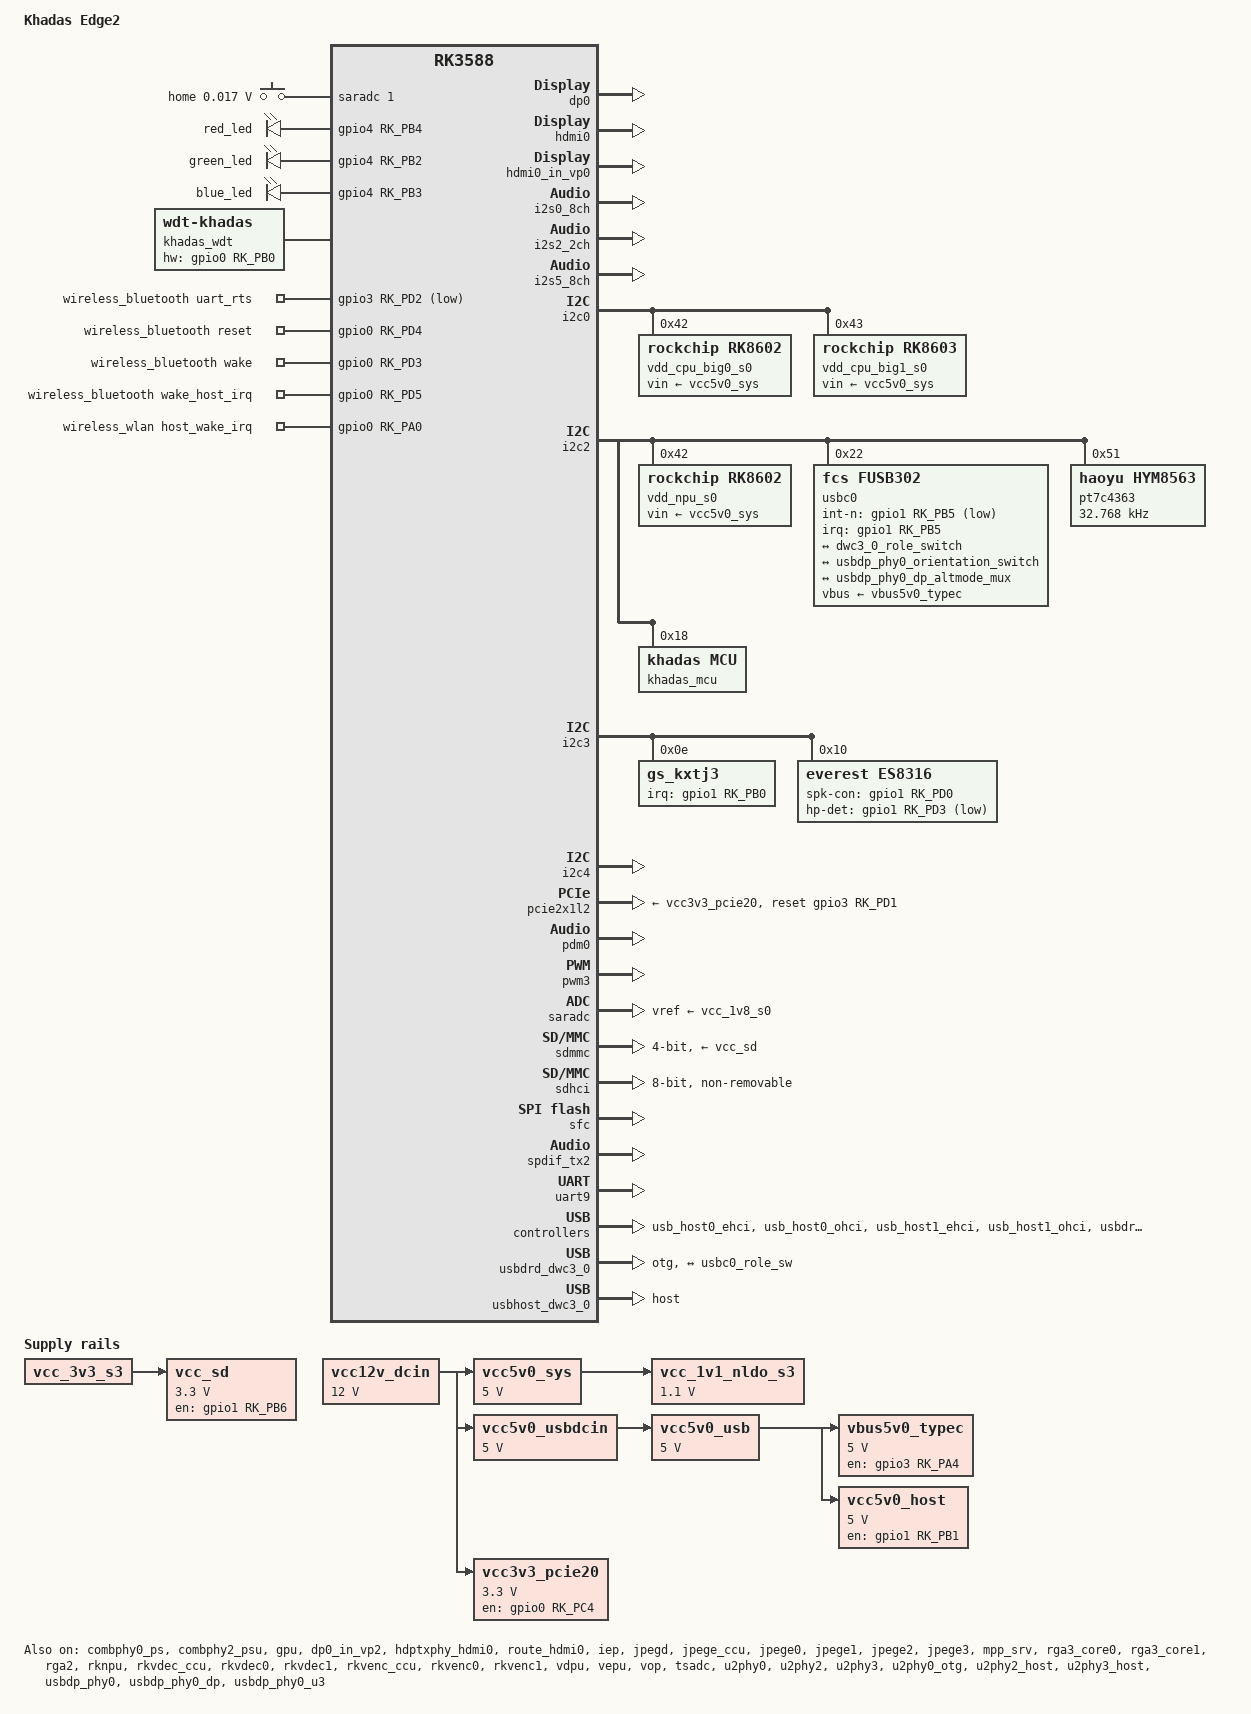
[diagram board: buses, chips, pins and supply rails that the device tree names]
// SPDX-License-Identifier: (GPL-2.0+ OR MIT)
/*
 * Copyright (c) 2023 Wesion Technology Co., Ltd.
 *
 */

/dts-v1/;

#include <dt-bindings/gpio/gpio.h>
#include <dt-bindings/pwm/pwm.h>
#include <dt-bindings/pinctrl/rockchip.h>
#include <dt-bindings/input/rk-input.h>
#include <dt-bindings/display/rockchip_vop.h>
#include <dt-bindings/sensor-dev.h>
#include "dt-bindings/usb/pd.h"
#include "rk3588s.dtsi"
#include "rk3588-rk806-single-khadas.dtsi"
#include "rk3588-linux.dtsi"

/ {
	model = "Khadas Edge2";
	compatible = "khadas,edge2", "rockchip,rk3588";
	/delete-node/ chosen;

	adc_keys: adc-keys {
		compatible = "adc-keys";
		io-channels = <&saradc 1>;
		io-channel-names = "buttons";
		keyup-threshold-microvolt = <1800000>;
		poll-interval = <100>;

		home-key {
			label = "home";
			linux,code = <KEY_HOMEPAGE>;
			press-threshold-microvolt = <17000>;
		};
	};

	sound_micarray: sound-micarray {
		status = "okay";
		compatible = "simple-audio-card";
		simple-audio-card,format = "i2s";
		simple-audio-card,name = "rockchip,sound-micarray";
		simple-audio-card,mclk-fs = <256>;
		simple-audio-card,dai-link@0 {
			format = "pdm";
			cpu {
				sound-dai = <&pdm0>;
			};
			codec {
				sound-dai = <&dummy_codec>;
			};
		};
	};

	dummy_codec: dummy-codec {
		compatible = "rockchip,dummy-codec";
		#sound-dai-cells = <0>;
		status = "okay";
	};

	es8316_sound: es8316-sound {
		compatible = "simple-audio-card";
		simple-audio-card,format = "i2s";
		simple-audio-card,mclk-fs = <256>;
		simple-audio-card,name = "rockchip,es8316-codec";
		simple-audio-card,dai-link@0 {
			format = "i2s";
			cpu {
				sound-dai = <&i2s0_8ch>;
			};
			codec {
				sound-dai = <&es8316>;
			};
		};
	};

	leds {
		compatible = "gpio-leds";
		pinctrl-names = "default";
		pinctrl-0 = <&red_led_gpio &green_led_gpio &blue_led_gpio>;

		red_led {
			gpios = <&gpio4 RK_PB4 GPIO_ACTIVE_HIGH>;
			label = "red_led";
			linux,default-trigger = "none";
			default-state = "off";
		};

		green_led {
			gpios = <&gpio4 RK_PB2 GPIO_ACTIVE_HIGH>;
			label = "green_led";
			linux,default-trigger = "default-on";
			default-state = "on";
		};

		blue_led {
			gpios = <&gpio4 RK_PB3 GPIO_ACTIVE_HIGH>;
			label = "blue_led";
			linux,default-trigger = "none";
			default-state = "off";
		};
	};

	khadas_wdt {
		compatible = "linux,wdt-khadas";
		status = "okay";
		hw_margin_ms = <500>;
		hw-gpios = <&gpio0 RK_PB0 GPIO_ACTIVE_HIGH>;
	};

	vcc12v_dcin: vcc12v-dcin {
		compatible = "regulator-fixed";
		regulator-name = "vcc12v_dcin";
		regulator-always-on;
		regulator-boot-on;
		regulator-min-microvolt = <12000000>;
		regulator-max-microvolt = <12000000>;
	};

	vcc5v0_sys: vcc5v0-sys {
		compatible = "regulator-fixed";
		regulator-name = "vcc5v0_sys";
		regulator-always-on;
		regulator-boot-on;
		regulator-min-microvolt = <5000000>;
		regulator-max-microvolt = <5000000>;
		vin-supply = <&vcc12v_dcin>;
	};

	vcc_1v1_nldo_s3: vcc-1v1-nldo-s3 {
        compatible = "regulator-fixed";
        regulator-name = "vcc_1v1_nldo_s3";
        regulator-always-on;
        regulator-boot-on;
        regulator-min-microvolt = <1100000>;
        regulator-max-microvolt = <1100000>;
        vin-supply = <&vcc5v0_sys>;
    };

	vcc5v0_usbdcin: vcc5v0-usbdcin {
		compatible = "regulator-fixed";
		regulator-name = "vcc5v0_usbdcin";
		regulator-always-on;
		regulator-boot-on;
		regulator-min-microvolt = <5000000>;
		regulator-max-microvolt = <5000000>;
		vin-supply = <&vcc12v_dcin>;
	};

	vcc5v0_usb: vcc5v0-usb {
		compatible = "regulator-fixed";
		regulator-name = "vcc5v0_usb";
		regulator-always-on;
		regulator-boot-on;
		regulator-min-microvolt = <5000000>;
		regulator-max-microvolt = <5000000>;
		vin-supply = <&vcc5v0_usbdcin>;
	};

	vbus5v0_typec: vbus5v0-typec {
		compatible = "regulator-fixed";
		regulator-name = "vbus5v0_typec";
		regulator-min-microvolt = <5000000>;
		regulator-max-microvolt = <5000000>;
		enable-active-high;
		gpio = <&gpio3 RK_PA4 GPIO_ACTIVE_HIGH>;
		vin-supply = <&vcc5v0_usb>;
		pinctrl-names = "default";
		pinctrl-0 = <&typec5v_pwren>;
	};

	vcc3v3_pcie20: vcc3v3-pcie20 {
		compatible = "regulator-fixed";
		regulator-name = "vcc3v3_pcie20";
		regulator-min-microvolt = <3300000>;
		regulator-max-microvolt = <3300000>;
		enable-active-high;
		gpios = <&gpio0 RK_PC4 GPIO_ACTIVE_HIGH>;
		startup-delay-us = <5000>;
		vin-supply = <&vcc12v_dcin>;
	};

	vcc5v0_host: vcc5v0-host {
		compatible = "regulator-fixed";
		regulator-name = "vcc5v0_host";
		regulator-boot-on;
		regulator-always-on;
		regulator-min-microvolt = <5000000>;
		regulator-max-microvolt = <5000000>;
		enable-active-high;
		gpio = <&gpio1 RK_PB1 GPIO_ACTIVE_HIGH>;
		vin-supply = <&vcc5v0_usb>;
		pinctrl-names = "default";
		pinctrl-0 = <&vcc5v0_host_en>;
	};

	vcc_sd: vcc-sd {
		compatible = "regulator-fixed";
		regulator-name = "vcc_sd";
		regulator-boot-on;
		regulator-always-on;
		regulator-min-microvolt = <3300000>;
		regulator-max-microvolt = <3300000>;
		enable-active-high;
		gpio = <&gpio1 RK_PB6 GPIO_ACTIVE_HIGH>;
		vin-supply = <&vcc_3v3_s3>;
		pinctrl-names = "default";
		pinctrl-0 = <&vcc_sd_en>;
		regulator-state-mem {
			regulator-off-in-suspend;
		};
	};

	dp0_sound: dp0-sound {
		status = "okay";
		compatible = "rockchip,hdmi";
		rockchip,card-name = "rockchip-dp0";
		rockchip,mclk-fs = <512>;
		rockchip,cpu = <&spdif_tx2>;
		rockchip,codec = <&dp0 1>;
		rockchip,jack-det;
	};

	hdmi0_sound: hdmi0-sound {
		status = "okay";
		compatible = "simple-audio-card";
		simple-audio-card,format = "i2s";
		simple-audio-card,mclk-fs = <128>;
		simple-audio-card,name = "rockchip-hdmi0";

		simple-audio-card,cpu {
			sound-dai = <&i2s5_8ch>;
		};
		simple-audio-card,codec {
			sound-dai = <&hdmi0>;
		};
	};

	spdif_tx1_dc: spdif-tx1-dc {
		status = "disabled";
		compatible = "linux,spdif-dit";
		#sound-dai-cells = <0>;
	};

	spdif_tx1_sound: spdif-tx1-sound {
		status = "disabled";
		compatible = "simple-audio-card";
		simple-audio-card,name = "rockchip,spdif-tx1";
		simple-audio-card,cpu {
			sound-dai = <&spdif_tx1>;
		};
		simple-audio-card,codec {
			sound-dai = <&spdif_tx1_dc>;
		};
	};

	wireless_bluetooth: wireless-bluetooth {
		compatible = "bluetooth-platdata";
		clocks = <&pt7c4363>;
		clock-names = "ext_clock";
		uart_rts_gpios = <&gpio3 RK_PD2 GPIO_ACTIVE_LOW>;
		pinctrl-names = "default", "rts_gpio";
		pinctrl-0 = <&uart9m2_rtsn>, <&bt_gpio>;
		pinctrl-1 = <&uart9_gpios>;
		BT,reset_gpio    = <&gpio0 RK_PD4 GPIO_ACTIVE_HIGH>;
		BT,wake_gpio     = <&gpio0 RK_PD3 GPIO_ACTIVE_HIGH>;
		BT,wake_host_irq = <&gpio0 RK_PD5 GPIO_ACTIVE_HIGH>;
		status = "okay";
	};

	bt-sound {
		compatible = "simple-audio-card";
		simple-audio-card,format = "dsp_a";
		simple-audio-card,bitclock-inversion = <1>;
		simple-audio-card,mclk-fs = <256>;
		simple-audio-card,name = "rockchip,bt";
		simple-audio-card,cpu {
			sound-dai = <&i2s2_2ch>;
		};
		simple-audio-card,codec {
			sound-dai = <&bt_sco>;
		};
	};

	bt_sco: bt-sco {
		compatible = "delta,dfbmcs320";
		#sound-dai-cells = <0>;
		status = "okay";
	};

	wireless_wlan: wireless-wlan {
		compatible = "wlan-platdata";
		wifi_chip_type = "ap6275p";
		pinctrl-names = "default";
		pinctrl-0 = <&wifi_host_wake_irq>;
		WIFI,host_wake_irq = <&gpio0 RK_PA0 GPIO_ACTIVE_HIGH>;
	//	WIFI,poweren_gpio = <&gpio0 RK_PC7 GPIO_ACTIVE_HIGH>;
		status = "okay";
	};
};

&av1d_mmu {
	status = "okay";
};

&combphy0_ps {
	status = "okay";
};

&combphy2_psu {
	status = "okay";
};

&cpu_l0 {
	cpu-supply = <&vdd_cpu_lit_s0>;
	mem-supply = <&vdd_cpu_lit_mem_s0>;
};

&cpu_b0 {
	cpu-supply = <&vdd_cpu_big0_s0>;
	mem-supply = <&vdd_cpu_big0_mem_s0>;
};

&cpu_b2 {
	cpu-supply = <&vdd_cpu_big1_s0>;
	mem-supply = <&vdd_cpu_big1_mem_s0>;
};

&gpu {
	mali-supply = <&vdd_gpu_s0>;
	mem-supply = <&vdd_gpu_mem_s0>;
	status = "okay";
};

&dp0 {
	status = "okay";
};

&dp0_in_vp2 {
	status = "okay";
};

&hdmi0 {
	enable-gpios = <&gpio4 RK_PB1 GPIO_ACTIVE_HIGH>;
	status = "okay";
};

&hdmi0_in_vp0 {
	status = "okay";
};

&hdptxphy_hdmi0 {
	status = "okay";
};

&i2s0_8ch {
	status = "okay";
	pinctrl-0 = <&i2s0_lrck
		     &i2s0_sclk
		     &i2s0_sdi0
		     &i2s0_sdo0>;
};

&i2s2_2ch {
	status = "okay";
};

&i2s5_8ch {
	status = "okay";
};

&i2c0 {
    status = "okay";
    pinctrl-names = "default";
    pinctrl-0 = <&i2c0m2_xfer>;

    vdd_cpu_big0_s0: vdd_cpu_big0_mem_s0: rk8602@42 {
        compatible = "rockchip,rk8602";
        reg = <0x42>;
        vin-supply = <&vcc5v0_sys>;
        regulator-compatible = "rk860x-reg";
        regulator-name = "vdd_cpu_big0_s0";
        regulator-min-microvolt = <550000>;
        regulator-max-microvolt = <1050000>;
        regulator-ramp-delay = <12500>;
        rockchip,suspend-voltage-selector = <1>;
        regulator-boot-on;
        regulator-always-on;
        regulator-state-mem {
            regulator-off-in-suspend;
        };
    };

    vdd_cpu_big1_s0: vdd_cpu_big1_mem_s0: rk8603@43 {
        compatible = "rockchip,rk8603";
        reg = <0x43>;
        vin-supply = <&vcc5v0_sys>;
        regulator-compatible = "rk860x-reg";
        regulator-name = "vdd_cpu_big1_s0";
        regulator-min-microvolt = <550000>;
        regulator-max-microvolt = <1050000>;
        regulator-ramp-delay = <12500>;
        rockchip,suspend-voltage-selector = <1>;
        regulator-boot-on;
        regulator-always-on;
        regulator-state-mem {
            regulator-off-in-suspend;
        };
    };
};

&i2c2 {
    status = "okay";

    vdd_npu_s0: vdd_npu_mem_s0: rk8602@42 {
        compatible = "rockchip,rk8602";
        reg = <0x42>;
        vin-supply = <&vcc5v0_sys>;
        regulator-compatible = "rk860x-reg";
        regulator-name = "vdd_npu_s0";
        regulator-min-microvolt = <550000>;
        regulator-max-microvolt = <950000>;
        regulator-ramp-delay = <12500>;
        rockchip,suspend-voltage-selector = <1>;
        regulator-boot-on;
        regulator-always-on;
        regulator-state-mem {
            regulator-off-in-suspend;
        };
    };

    usbc0: fusb302@22 {
        compatible = "fcs,fusb302";
        reg = <0x22>;
        interrupt-parent = <&gpio1>;
        interrupts = <RK_PB5 IRQ_TYPE_LEVEL_LOW>;
        int-n-gpios = <&gpio1 RK_PB5 GPIO_ACTIVE_LOW>;
        pinctrl-names = "default";
        pinctrl-0 = <&usbc0_int>;
        vbus-supply = <&vbus5v0_typec>;
        status = "okay";

        ports {
            #address-cells = <1>;
            #size-cells = <0>;

            port@0 {
                reg = <0>;
                usbc0_role_sw: endpoint@0 {
                    remote-endpoint = <&dwc3_0_role_switch>;
                };
            };
        };

        usb_con: connector {
            compatible = "usb-c-connector";
            label = "USB-C";
            data-role = "dual";
            power-role = "dual";
            try-power-role = "sink";
            op-sink-microwatt = <1000000>;
            sink-pdos =
                <PDO_FIXED(5000, 3000, PDO_FIXED_USB_COMM)
                 PDO_FIXED(9000, 3000, PDO_FIXED_USB_COMM)
                 PDO_FIXED(12000, 3000, PDO_FIXED_USB_COMM)>;
            source-pdos =
                <PDO_FIXED(5000, 3000, PDO_FIXED_USB_COMM)>;

            altmodes {
                #address-cells = <1>;
                #size-cells = <0>;

                altmode@0 {
                    reg = <0>;
                    svid = <0xff01>;
                    vdo = <0xffffffff>;
                };
            };

             ports {
                #address-cells = <1>;
                #size-cells = <0>;

                port@0 {
                    reg = <0>;
                    usbc0_orien_sw: endpoint {
                        remote-endpoint = <&usbdp_phy0_orientation_switch>;
                    };
                };

                port@1 {
                    reg = <1>;
                    dp_altmode_mux: endpoint {
                        remote-endpoint = <&usbdp_phy0_dp_altmode_mux>;
                    };
                };
            };
        };
    };

    pt7c4363: pt7c4363@51 {
        compatible = "haoyu,hym8563";
        reg = <0x51>;
        #clock-cells = <0>;
        clock-frequency = <32768>;
        clock-output-names = "pt7c4363";
        wakeup-source;
    };

	khadas_mcu: system-controller@18 {
		compatible = "khadas,mcu";
		reg = <0x18>;
		cooling-levels = <0 50 72 100>;
		#cooling-cells = <2>;
	};
};

&reboot_mode {
	mode-reboot_test = <BOOT_QUIESCENT>;
};

&i2c3 {
	status = "okay";

	gs_kxtj3: gs_kxtj3@e {
		compatible = "gs_kxtj3";
		reg = <0x0e>;
		irq-gpio = <&gpio1 RK_PB0 IRQ_TYPE_EDGE_RISING>;
		irq_enable = <0>;
		poll_delay_ms = <30>;
		type = <SENSOR_TYPE_ACCEL>;
		layout = <0>;
		status = "okay";
	};

	es8316: es8316@10 {
		status = "okay";
		#sound-dai-cells = <0>;
		compatible = "everest,es8316";
		reg = <0x10>;
		clocks = <&mclkout_i2s0>;
		clock-names = "mclk";
		assigned-clocks = <&mclkout_i2s0>;
		assigned-clock-rates = <12288000>;
		pinctrl-names = "default","hp_det","spk_con";
		pinctrl-0 = <&i2s0_mclk>,<&hp_det>,<&spk_con>;
		spk-con-gpio = <&gpio1 RK_PD0 GPIO_ACTIVE_HIGH>;
		hp-det-gpio = <&gpio1 RK_PD3 GPIO_ACTIVE_LOW>;
	};

};

&i2c4 {
	pinctrl-names = "default";
	pinctrl-0 = <&i2c4m3_xfer>;
	status = "okay";
};

&pcie2x1l2 {
	reset-gpios = <&gpio3 RK_PD1 GPIO_ACTIVE_HIGH>;
	vpcie3v3-supply = <&vcc3v3_pcie20>;
	rockchip,skip-scan-in-resume;
	status = "okay";
};

&pdm0 {
	pinctrl-names = "default";
    pinctrl-0 = <&pdm0m0_clk
    	&pdm0m0_clk1
    	&pdm0m0_sdi0
    	&pdm0m0_sdi1
    	&pdm0m0_sdi2>;
    rockchip,path-map = <0 1 2 3>;
    status = "okay";
};

&pinctrl {
	audio {
		hp_det: hp-det {
			rockchip,pins = <1 RK_PD3 RK_FUNC_GPIO &pcfg_pull_none>;
		};
		spk_con: spk-con {
			rockchip,pins = <1 RK_PD0 RK_FUNC_GPIO &pcfg_pull_down>;
		};
	};

	leds {
		red_led_gpio: red-led-gpio {
			rockchip,pins = <4 RK_PB4 RK_FUNC_GPIO &pcfg_pull_up>;
		};

		green_led_gpio: green-led-gpio {
			rockchip,pins = <4 RK_PB2 RK_FUNC_GPIO &pcfg_pull_up>;
		};

		blue_led_gpio: blue-led-gpio {
			rockchip,pins = <4 RK_PB3 RK_FUNC_GPIO &pcfg_pull_up>;
		};
	};

	usb {
		vcc5v0_host_en: vcc5v0-host-en {
			rockchip,pins = <1 RK_PB1 RK_FUNC_GPIO &pcfg_pull_none>;
		};
	};

	vcc_sd {
		vcc_sd_en: vcc-sd-en {
			rockchip,pins = <1 RK_PB6 RK_FUNC_GPIO &pcfg_pull_up>;
		};
	};

	usb-typec {
		usbc0_int: usbc0-int {
			rockchip,pins = <1 RK_PB5 RK_FUNC_GPIO &pcfg_pull_up>;
		};

		typec5v_pwren: typec5v-pwren {
			rockchip,pins = <3 RK_PA4 RK_FUNC_GPIO &pcfg_pull_none>;
		};
	};

	wireless-bluetooth {
		uart9_gpios: uart9-gpios {
			rockchip,pins = <3 RK_PD2 RK_FUNC_GPIO &pcfg_pull_none>;
		};

		bt_gpio: bt-gpio {
			rockchip,pins =
				<0 RK_PD4 RK_FUNC_GPIO &pcfg_pull_none>,
				<0 RK_PD3 RK_FUNC_GPIO &pcfg_pull_up>,
				<0 RK_PD5 RK_FUNC_GPIO &pcfg_pull_down>;
		};
	};

	wireless-wlan {
		wifi_host_wake_irq: wifi-host-wake-irq {
			rockchip,pins = <0 RK_PA0 RK_FUNC_GPIO &pcfg_pull_down>;
		};

	//	wifi_poweren_gpio: wifi-poweren-gpio {
	//		rockchip,pins = <0 RK_PC7 RK_FUNC_GPIO &pcfg_pull_up>;
	//	};
	};
};

&pwm3 {
	compatible = "rockchip,remotectl-pwm";
	pinctrl-names = "default";
	pinctrl-0 = <&pwm3m3_pins>;
	remote_pwm_id = <3>;
	handle_cpu_id = <1>;
	remote_support_psci = <0>;
	status = "okay";

	ir_key1 {
		rockchip,usercode = <0xff00>;
		rockchip,key_table =
			<0xeb KEY_POWER>,
			<0xec KEY_MENU>,
			<0xfc KEY_UP>,
			<0xfd KEY_DOWN>,
			<0xf1 KEY_LEFT>,
			<0xe5 KEY_RIGHT>,
			<0xf8 KEY_ENTER>,
			<0xa7 KEY_VOLUMEDOWN>,
			<0xa3 388>,
			<0xa4 388>,
			<0xf4 KEY_VOLUMEUP>,
			<0xfe KEY_BACK>,
			<0xb7 KEY_HOMEPAGE>;
	};
};

&rockchip_suspend {
    rockchip,sleep-mode-config = <
		(0
		| RKPM_SLP_ARMOFF_DDRPD
		| RKPM_SLP_PMU_PMUALIVE_32K
		| RKPM_SLP_PMU_DIS_OSC
		| RKPM_SLP_32K_EXT
		| RKPM_SLP_PMU_DBG
		)
	>;
	status = "okay";
};

&route_hdmi0 {
    status = "okay";
    connect = <&vp0_out_hdmi0>;
    /delete-property/ force-output;
    /delete-node/ force_timing;
};

&saradc {
	status = "okay";
	vref-supply = <&vcc_1v8_s0>;
};

&sdmmc {
	max-frequency = <150000000>;
	card-detect-delay = <1200>;
	no-sdio;
	no-mmc;
	bus-width = <4>;
	cap-mmc-highspeed;
	cap-sd-highspeed;
	disable-wp;
	sd-uhs-sdr104;
	vmmc-supply = <&vcc_sd>;
	vqmmc-supply = <&vccio_sd_s0>;
	status = "okay";
};

&sdhci {
	bus-width = <8>;
	no-sdio;
	no-sd;
	non-removable;
	max-frequency = <200000000>;
	mmc-hs400-1_8v;
	mmc-hs400-enhanced-strobe;
	status = "okay";
};

&sfc {
	pinctrl-names = "default";
	pinctrl-0 = <&fspim2_pins>;
	status = "okay";
};

&spdif_tx1 {
	status = "disabled";
	pinctrl-names = "default";
	pinctrl-0 = <&spdif1m1_tx>;
};

&spdif_tx1_dc {
	status = "disabled";
};

&spdif_tx1_sound {
	status = "disabled";
};

&spdif_tx2 {
	status = "okay";
};

&spi1 {
	status = "disabled";
	pinctrl-names = "default";
	pinctrl-0 = <&spi1m1_cs0 &spi1m1_pins>;
};

&soc_thermal {
	polling-delay = <1000>;
	polling-delay-passive = <2000>;
	
	trips {
		trip0: trip-point@0 {
			temperature = <45000>;
			hysteresis = <5000>;
			type = "active";
		};
		
		trip1: trip-point@1 {
			temperature = <55000>;
			hysteresis = <5000>;
			type = "active";
		};
		
		trip2: trip-point@2 {
			temperature = <60000>;
			hysteresis = <5000>;
			type = "active";
		};
		
		trip3: trip-point@3 {
			temperature = <70000>;
			hysteresis = <5000>;
			type = "active";
		};
	};
	
	cooling-maps {
		map0 {
			trip = <&trip0>;
			cooling-device = <&khadas_mcu 0 1>;
			contribution = <1024>;
		};
		
		map1 {
			trip = <&trip1>;
			cooling-device = <&khadas_mcu 1 2>;
			contribution = <1024>;
		};
		
		map2 {
			trip = <&trip2>;
			cooling-device = <&khadas_mcu 2 3>;
			contribution = <1024>;
		};
		
		map3 {
			trip = <&trip3>;
			cooling-device = <&khadas_mcu 3 THERMAL_NO_LIMIT>;
			contribution = <1024>;
		};
	};
};

&iep {
	status = "okay";
};

&iep_mmu {
	status = "okay";
};

&jpegd {
	status = "okay";
};

&jpegd_mmu {
	status = "okay";
};

&jpege_ccu {
	status = "okay";
};

&jpege0 {
	status = "okay";
};

&jpege0_mmu {
	status = "okay";
};

&jpege1 {
	status = "okay";
};

&jpege1_mmu {
	status = "okay";
};

&jpege2 {
	status = "okay";
};

&jpege2_mmu {
	status = "okay";
};

&jpege3 {
	status = "okay";
};

&jpege3_mmu {
	status = "okay";
};

&mpp_srv {
	status = "okay";
};

&rga3_core0 {
	status = "okay";
};

&rga3_0_mmu {
	status = "okay";
};

&rga3_core1 {
	status = "okay";
};

&rga3_1_mmu {
	status = "okay";
};

&rga2 {
	status = "okay";
};

&rknpu {
	rknpu-supply = <&vdd_npu_s0>;
	mem-supply = <&vdd_npu_mem_s0>;
	status = "okay";
};

&rknpu_mmu {
	status = "okay";
};

&rkvdec_ccu {
	status = "okay";
};

&rkvdec0 {
	status = "okay";
};

&rkvdec0_mmu {
	status = "okay";
};

&rkvdec1 {
	status = "okay";
};

&rkvdec1_mmu {
	status = "okay";
};

&rkvenc_ccu {
	status = "okay";
};

&rkvenc0 {
	status = "okay";
};

&rkvenc0_mmu {
	status = "okay";
};

&rkvenc1 {
	status = "okay";
};

&rkvenc1_mmu {
	status = "okay";
};

&vdpu {
	status = "okay";
};

&vdpu_mmu {
	status = "okay";
};

&vepu {
	status = "okay";
};

&vop {
	status = "okay";
};

&vop_mmu {
	status = "okay";
};

/* vp0 & vp1 splice for 8K output */
&vp0 {
	rockchip,plane-mask = <(1 << ROCKCHIP_VOP2_CLUSTER0 | 1 << ROCKCHIP_VOP2_ESMART0)>;
	rockchip,primary-plane = <ROCKCHIP_VOP2_CLUSTER0>;
	cursor-win-id = <ROCKCHIP_VOP2_ESMART0>;
};

&vp1 {
	rockchip,plane-mask = <(1 << ROCKCHIP_VOP2_CLUSTER1 | 1 << ROCKCHIP_VOP2_ESMART1)>;
	rockchip,primary-plane = <ROCKCHIP_VOP2_CLUSTER1>;
	cursor-win-id = <ROCKCHIP_VOP2_ESMART1>;
};

&vp2 {
	rockchip,plane-mask = <(1 << ROCKCHIP_VOP2_CLUSTER2 | 1 << ROCKCHIP_VOP2_ESMART2)>;
	rockchip,primary-plane = <ROCKCHIP_VOP2_CLUSTER2>;
	cursor-win-id = <ROCKCHIP_VOP2_ESMART2>;
};

&vp3 {
	rockchip,plane-mask = <(1 << ROCKCHIP_VOP2_CLUSTER3 | 1 << ROCKCHIP_VOP2_ESMART3)>;
	rockchip,primary-plane = <ROCKCHIP_VOP2_CLUSTER3>;
	cursor-win-id = <ROCKCHIP_VOP2_ESMART3>;
};

&display_subsystem {
	clocks = <&hdptxphy_hdmi_clk0>;
	clock-names = "hdmi0_phy_pll";
};

&hdptxphy_hdmi_clk0 {
	status = "okay";
};

&tsadc {
	status = "okay";
};

&uart9 {
	status = "okay";
	pinctrl-names = "default";
	pinctrl-0 = <&uart9m2_xfer &uart9m2_ctsn>;
};

&u2phy0 {
	status = "okay";
};

&u2phy2 {
	status = "okay";
};

&u2phy3 {
	status = "okay";
};

&u2phy0_otg {
	rockchip,typec-vbus-det;
	status = "okay";
};

&u2phy2_host {
	phy-supply = <&vcc5v0_host>;
	status = "okay";
};

&u2phy3_host {
	phy-supply = <&vcc5v0_host>;
	status = "okay";
};

&usb_host0_ehci {
	status = "okay";
};

&usb_host0_ohci {
	status = "okay";
};

&usb_host1_ehci {
	status = "okay";
};

&usb_host1_ohci {
	status = "okay";
};

&usbdp_phy0 {
	orientation-switch;
	svid = <0xff01>;
	sbu1-dc-gpios = <&gpio4 RK_PA0 GPIO_ACTIVE_HIGH>;
	sbu2-dc-gpios = <&gpio4 RK_PA1 GPIO_ACTIVE_HIGH>;
	status = "okay";

	port {
		#address-cells = <1>;
		#size-cells = <0>;
		usbdp_phy0_orientation_switch: endpoint@0 {
			reg = <0>;
			remote-endpoint = <&usbc0_orien_sw>;
		};

		usbdp_phy0_dp_altmode_mux: endpoint@1 {
			reg = <1>;
			remote-endpoint = <&dp_altmode_mux>;
		};
	};
};

&usbdp_phy0_dp {
	status = "okay";
};

&usbdp_phy0_u3 {
	status = "okay";
};

&usbdrd3_0 {
	status = "okay";
};

&usbdrd_dwc3_0 {
	dr_mode = "otg";
	status = "okay";

	usb-role-switch;
	port {
		#address-cells = <1>;
		#size-cells = <0>;
		dwc3_0_role_switch: endpoint@0 {
			reg = <0>;
			remote-endpoint = <&usbc0_role_sw>;
		};
	};
};

&usbhost3_0 {
	status = "okay";
};

&usbhost_dwc3_0 {
	dr_mode = "host";
	status = "okay";
};

&vdd_log_s0 {
	regulator-state-mem {
		regulator-on-in-suspend;
		regulator-suspend-microvolt = <750000>;
	};
};

&vcc_1v8_s0 {
	/delete-property/ regulator-state-mem;
	regulator-state-mem {
		regulator-on-in-suspend;
		regulator-suspend-microvolt = <1800000>;
	};
};

&vcc_3v3_s0 {
	/delete-property/ regulator-state-mem;
	regulator-state-mem {
		regulator-on-in-suspend;
		regulator-suspend-microvolt = <3300000>;
	};
};
